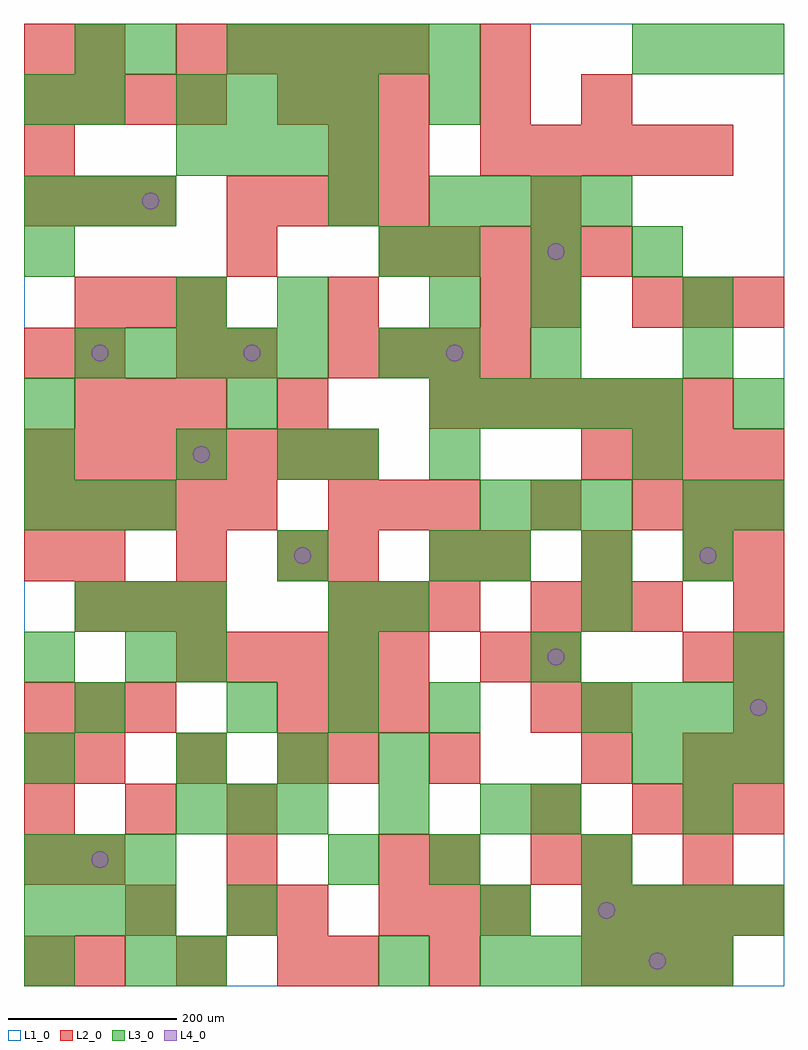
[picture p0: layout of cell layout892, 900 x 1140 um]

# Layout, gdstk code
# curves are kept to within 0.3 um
import gdstk
lib = gdstk.Library(unit=1e-6, precision=1e-09)
def R(c, l, rs):  # rectangles x0, y0, x1, y1
    for r in rs: c.add(gdstk.rectangle(r[:2], r[2:], *l))
def A(c, l, x, y, w, h, nx, ny, dx, dy):  # array of equal rectangles
    R(c, l, [(x+i*dx, y+j*dy, x+i*dx+w, y+j*dy+h) for i in range(nx) for j in range(ny)])
def P(c, l, *ps):  # polygons
    for p in ps: c.add(gdstk.Polygon(p, *l))
L1_0 = (1, 0)
L2_0 = (2, 0)
L3_0 = (3, 0)
L4_0 = (4, 0)

layout892 = lib.new_cell('layout892')
R(layout892, L1_0, [(0,0,900,1140)])
A(layout892, L2_0, 0, 0, 60, 60, 1, 3, 0, 120)
A(layout892, L2_0, 60, 0, 60, 60, 3, 3, 120, 240)
A(layout892, L2_0, 360, 0, 60, 60, 1, 3, 0, 240)
A(layout892, L2_0, 480, 0, 60, 60, 1, 3, 0, 120)
A(layout892, L2_0, 660, 0, 60, 60, 3, 1, 60, 0)
A(layout892, L2_0, 420, 60, 60, 60, 3, 1, 60, 0)
A(layout892, L2_0, 660, 60, 60, 60, 4, 2, 60, 540)
A(layout892, L2_0, 60, 120, 60, 60, 3, 1, 180, 0)
A(layout892, L2_0, 780, 120, 60, 60, 1, 3, 0, 120)
A(layout892, L2_0, 0, 180, 60, 60, 3, 1, 120, 0)
A(layout892, L2_0, 720, 180, 60, 60, 3, 2, 60, 360)
A(layout892, L2_0, 840, 240, 60, 60, 1, 5, 0, 60)
A(layout892, L2_0, 0, 300, 60, 60, 3, 2, 60, 600)
A(layout892, L2_0, 300, 300, 60, 60, 3, 2, 60, 720)
A(layout892, L2_0, 180, 360, 60, 60, 5, 2, 60, 720)
A(layout892, L2_0, 60, 420, 60, 60, 3, 2, 60, 240)
A(layout892, L2_0, 360, 420, 60, 60, 3, 2, 60, 120)
A(layout892, L2_0, 600, 420, 60, 60, 3, 1, 60, 0)
A(layout892, L2_0, 0, 480, 60, 60, 1, 3, 0, 240)
A(layout892, L2_0, 540, 480, 60, 60, 3, 1, 120, 0)
A(layout892, L2_0, 0, 540, 60, 60, 5, 1, 60, 0)
A(layout892, L2_0, 0, 600, 60, 60, 7, 1, 60, 0)
A(layout892, L2_0, 480, 660, 60, 60, 6, 1, 60, 0)
A(layout892, L2_0, 360, 720, 60, 60, 4, 1, 60, 0)
A(layout892, L2_0, 60, 780, 60, 60, 3, 1, 60, 0)
A(layout892, L2_0, 720, 780, 60, 60, 3, 1, 60, 0)
A(layout892, L2_0, 420, 840, 60, 60, 5, 1, 60, 0)
A(layout892, L2_0, 240, 900, 60, 60, 4, 1, 60, 0)
A(layout892, L2_0, 540, 960, 60, 60, 5, 1, 60, 0)
A(layout892, L2_0, 0, 1020, 60, 60, 4, 1, 60, 0)
R(layout892, L2_0, [(120,60,180,120), (240,60,300,120), (300,60,360,120), (600,120,660,180), (660,120,720,180), (600,180,660,240), (660,240,720,300), (600,300,660,360), (660,300,720,360), (540,360,600,420), (600,360,660,420), (480,480,540,540), (600,540,660,600), (300,660,360,720), (60,720,120,780), (180,720,240,780), (240,720,300,780), (360,780,420,840), (540,780,600,840), (600,780,660,840), (240,840,300,900), (600,900,660,960), (360,960,420,1020), (420,960,480,1020), (540,1020,600,1080), (660,1020,720,1080), (0,1080,60,1140), (60,1080,120,1140), (540,1080,600,1140)])
A(layout892, L3_0, 540, 0, 60, 60, 5, 1, 60, 0)
A(layout892, L3_0, 0, 60, 60, 60, 3, 2, 60, 60)
A(layout892, L3_0, 660, 60, 60, 60, 4, 2, 60, 240)
A(layout892, L3_0, 180, 180, 60, 60, 3, 1, 60, 0)
A(layout892, L3_0, 180, 240, 60, 60, 3, 1, 120, 0)
A(layout892, L3_0, 720, 240, 60, 60, 3, 2, 60, 840)
A(layout892, L3_0, 240, 300, 60, 60, 3, 1, 120, 0)
A(layout892, L3_0, 0, 360, 60, 60, 1, 3, 0, 240)
A(layout892, L3_0, 360, 360, 60, 60, 3, 1, 240, 0)
A(layout892, L3_0, 60, 420, 60, 60, 3, 1, 60, 0)
A(layout892, L3_0, 480, 480, 60, 60, 1, 3, 0, 120)
A(layout892, L3_0, 540, 480, 60, 60, 3, 1, 120, 0)
A(layout892, L3_0, 0, 540, 60, 60, 3, 2, 60, 360)
A(layout892, L3_0, 540, 540, 60, 60, 3, 1, 60, 0)
A(layout892, L3_0, 0, 660, 60, 60, 3, 1, 240, 0)
A(layout892, L3_0, 540, 660, 60, 60, 4, 1, 60, 0)
A(layout892, L3_0, 60, 720, 60, 60, 5, 1, 60, 0)
A(layout892, L3_0, 480, 840, 60, 60, 3, 1, 120, 0)
A(layout892, L3_0, 480, 900, 60, 60, 4, 1, 60, 0)
A(layout892, L3_0, 180, 960, 60, 60, 4, 2, 60, 60)
A(layout892, L3_0, 240, 1080, 60, 60, 5, 1, 60, 0)
R(layout892, L3_0, [(0,0,60,60), (120,0,180,60), (180,0,240,60), (420,0,480,60), (240,60,300,120), (540,60,600,120), (360,120,420,180), (480,120,540,180), (660,120,720,180), (420,180,480,240), (540,180,600,240), (600,180,660,240), (780,180,840,240), (0,240,60,300), (60,300,120,360), (120,360,180,420), (180,360,240,420), (360,420,420,480), (420,420,480,480), (660,420,720,480), (300,480,360,540), (780,540,840,600), (840,540,900,600), (180,600,240,660), (300,600,360,660), (360,600,420,660), (720,600,780,660), (840,660,900,720), (420,720,480,780), (600,720,660,780), (780,720,840,780), (180,780,240,840), (300,780,360,840), (480,780,540,840), (600,780,660,840), (780,780,840,840), (420,840,480,900), (360,900,420,960), (0,1020,60,1080), (60,1020,120,1080), (480,1020,540,1080), (60,1080,120,1140), (120,1080,180,1140)])
P(layout892, L4_0, [(100,150),(99.239,153.827),(97.071,157.071),(93.827,159.239),(90,160),(86.173,159.239),(82.929,157.071),(80.761,153.827),(80,150),(80.761,146.173),(82.929,142.929),(86.173,140.761),(90,140),(93.827,140.761),(97.071,142.929),(99.239,146.173)],
  [(100,750),(99.239,753.827),(97.071,757.071),(93.827,759.239),(90,760),(86.173,759.239),(82.929,757.071),(80.761,753.827),(80,750),(80.761,746.173),(82.929,742.929),(86.173,740.761),(90,740),(93.827,740.761),(97.071,742.929),(99.239,746.173)],
  [(160,930),(159.239,933.827),(157.071,937.071),(153.827,939.239),(150,940),(146.173,939.239),(142.929,937.071),(140.761,933.827),(140,930),(140.761,926.173),(142.929,922.929),(146.173,920.761),(150,920),(153.827,920.761),(157.071,922.929),(159.239,926.173)],
  [(220,630),(219.239,633.827),(217.071,637.071),(213.827,639.239),(210,640),(206.173,639.239),(202.929,637.071),(200.761,633.827),(200,630),(200.761,626.173),(202.929,622.929),(206.173,620.761),(210,620),(213.827,620.761),(217.071,622.929),(219.239,626.173)],
  [(280,750),(279.239,753.827),(277.071,757.071),(273.827,759.239),(270,760),(266.173,759.239),(262.929,757.071),(260.761,753.827),(260,750),(260.761,746.173),(262.929,742.929),(266.173,740.761),(270,740),(273.827,740.761),(277.071,742.929),(279.239,746.173)],
  [(340,510),(339.239,513.827),(337.071,517.071),(333.827,519.239),(330,520),(326.173,519.239),(322.929,517.071),(320.761,513.827),(320,510),(320.761,506.173),(322.929,502.929),(326.173,500.761),(330,500),(333.827,500.761),(337.071,502.929),(339.239,506.173)],
  [(520,750),(519.239,753.827),(517.071,757.071),(513.827,759.239),(510,760),(506.173,759.239),(502.929,757.071),(500.761,753.827),(500,750),(500.761,746.173),(502.929,742.929),(506.173,740.761),(510,740),(513.827,740.761),(517.071,742.929),(519.239,746.173)],
  [(640,390),(639.239,393.827),(637.071,397.071),(633.827,399.239),(630,400),(626.173,399.239),(622.929,397.071),(620.761,393.827),(620,390),(620.761,386.173),(622.929,382.929),(626.173,380.761),(630,380),(633.827,380.761),(637.071,382.929),(639.239,386.173)],
  [(640,870),(639.239,873.827),(637.071,877.071),(633.827,879.239),(630,880),(626.173,879.239),(622.929,877.071),(620.761,873.827),(620,870),(620.761,866.173),(622.929,862.929),(626.173,860.761),(630,860),(633.827,860.761),(637.071,862.929),(639.239,866.173)],
  [(700,90),(699.239,93.827),(697.071,97.071),(693.827,99.239),(690,100),(686.173,99.239),(682.929,97.071),(680.761,93.827),(680,90),(680.761,86.173),(682.929,82.929),(686.173,80.761),(690,80),(693.827,80.761),(697.071,82.929),(699.239,86.173)],
  [(760,30),(759.239,33.827),(757.071,37.071),(753.827,39.239),(750,40),(746.173,39.239),(742.929,37.071),(740.761,33.827),(740,30),(740.761,26.173),(742.929,22.929),(746.173,20.761),(750,20),(753.827,20.761),(757.071,22.929),(759.239,26.173)],
  [(820,510),(819.239,513.827),(817.071,517.071),(813.827,519.239),(810,520),(806.173,519.239),(802.929,517.071),(800.761,513.827),(800,510),(800.761,506.173),(802.929,502.929),(806.173,500.761),(810,500),(813.827,500.761),(817.071,502.929),(819.239,506.173)],
  [(880,330),(879.239,333.827),(877.071,337.071),(873.827,339.239),(870,340),(866.173,339.239),(862.929,337.071),(860.761,333.827),(860,330),(860.761,326.173),(862.929,322.929),(866.173,320.761),(870,320),(873.827,320.761),(877.071,322.929),(879.239,326.173)])

lib.write_gds('layout892.gds')
